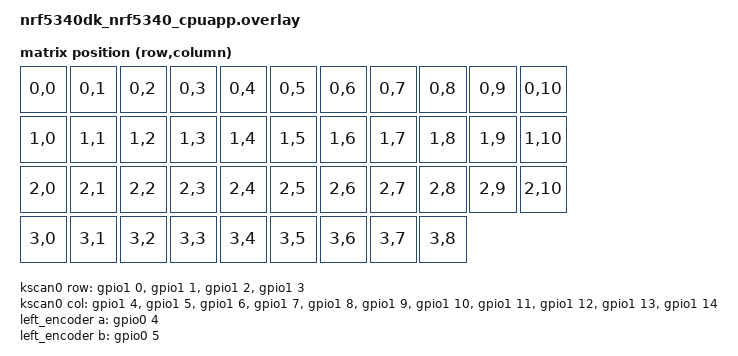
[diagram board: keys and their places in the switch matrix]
/* nrf5340dk_nrf5340_cpuapp.overlay */

#include <dt-bindings/zmk/matrix_transform.h>

/ {
    chosen {
        zmk,kscan = &kscan0;
        zmk,matrix_transform = &default_transform;
    };

    default_transform: keymap_transform_0 {
        compatible = "zmk,matrix-transform";
        columns = <11>;
        rows = <4>;
        
        map = <
        /* Rad 0-2 (Vanliga tangenter) */
        RC(0,0) RC(0,1) RC(0,2) RC(0,3) RC(0,4) RC(0,5) RC(0,6) RC(0,7) RC(0,8) RC(0,9) RC(0,10)
        RC(1,0) RC(1,1) RC(1,2) RC(1,3) RC(1,4) RC(1,5) RC(1,6) RC(1,7) RC(1,8) RC(1,9) RC(1,10)
        RC(2,0) RC(2,1) RC(2,2) RC(2,3) RC(2,4) RC(2,5) RC(2,6) RC(2,7) RC(2,8) RC(2,9) RC(2,10)
        
        /* Rad 3 (Tummarna + Dina 3 Makro-knappar) */
        /* Makro 1-3 ligger på Kol 0-2, Tummarna på Kol 3-8 */
        RC(3,0) RC(3,1) RC(3,2) RC(3,3) RC(3,4) RC(3,5) RC(3,6) RC(3,7) RC(3,8)
        >;
    };

    kscan0: kscan_0 {
        compatible = "zmk,kscan-gpio-matrix";
        label = "KSCAN";
        diode-direction = "col2row";

        /* MATRIS PINS (Port 1) */
        row-gpios
            = <&gpio1 0 (GPIO_ACTIVE_HIGH | GPIO_PULL_DOWN)>
            , <&gpio1 1 (GPIO_ACTIVE_HIGH | GPIO_PULL_DOWN)>
            , <&gpio1 2 (GPIO_ACTIVE_HIGH | GPIO_PULL_DOWN)>
            , <&gpio1 3 (GPIO_ACTIVE_HIGH | GPIO_PULL_DOWN)>
            ;

        col-gpios
            = <&gpio1 4 GPIO_ACTIVE_HIGH>
            , <&gpio1 5 GPIO_ACTIVE_HIGH>
            , <&gpio1 6 GPIO_ACTIVE_HIGH>
            , <&gpio1 7 GPIO_ACTIVE_HIGH>
            , <&gpio1 8 GPIO_ACTIVE_HIGH>
            , <&gpio1 9 GPIO_ACTIVE_HIGH>
            , <&gpio1 10 GPIO_ACTIVE_HIGH>
            , <&gpio1 11 GPIO_ACTIVE_HIGH>
            , <&gpio1 12 GPIO_ACTIVE_HIGH>
            , <&gpio1 13 GPIO_ACTIVE_HIGH>
            , <&gpio1 14 GPIO_ACTIVE_HIGH>
            ;
    };

    /* ENCODER DEFINITION */
    left_encoder: encoder_left {
        compatible = "alps,ec11";
        label = "LEFT_ENCODER";
        a-gpios = <&gpio0 4 (GPIO_ACTIVE_HIGH | GPIO_PULL_UP)>;
        b-gpios = <&gpio0 5 (GPIO_ACTIVE_HIGH | GPIO_PULL_UP)>;
        steps = <80>;
        status = "okay";
    };

    sensors {
        compatible = "zmk,keymap-sensors";
        sensors = <&left_encoder>;
        triggers-per-rotation = <20>;
    };
};

/* SKÄRM KONFIGURATION */
&spi1 {
    compatible = "nordic,nrf-spim";
    status = "okay";
    pinctrl-0 = <&spi1_default>;
    pinctrl-1 = <&spi1_sleep>;
    cs-gpios = <&gpio0 16 GPIO_ACTIVE_LOW>;

    st7789: st7789v@0 {
        compatible = "sitronix,st7789v";
        reg = <0>;
        spi-max-frequency = <20000000>;
        width = <240>;
        height = <240>;
        x-offset = <0>;
        y-offset = <0>;
        dc-gpios = <&gpio0 15 GPIO_ACTIVE_HIGH>;
        reset-gpios = <&gpio0 14 GPIO_ACTIVE_LOW>;
    };
};

/* Definiera skärmen för ZMK */
/ {
    chosen {
        zmk,display = &st7789;
    };
};

/* PIN CONTROL FÖR SPI */
&pinctrl {
    spi1_default: spi1_default {
        group1 {
            psels = <NRF_PSEL(SPIM_SCK, 0, 17)>,
                    <NRF_PSEL(SPIM_MOSI, 0, 13)>,
                    <NRF_PSEL(SPIM_MISO, 0, 255)>;
        };
    };
    spi1_sleep: spi1_sleep {
        group1 {
            psels = <NRF_PSEL(SPIM_SCK, 0, 17)>,
                    <NRF_PSEL(SPIM_MOSI, 0, 13)>,
                    <NRF_PSEL(SPIM_MISO, 0, 255)>;
            low-power-enable;
        };
    };
};
